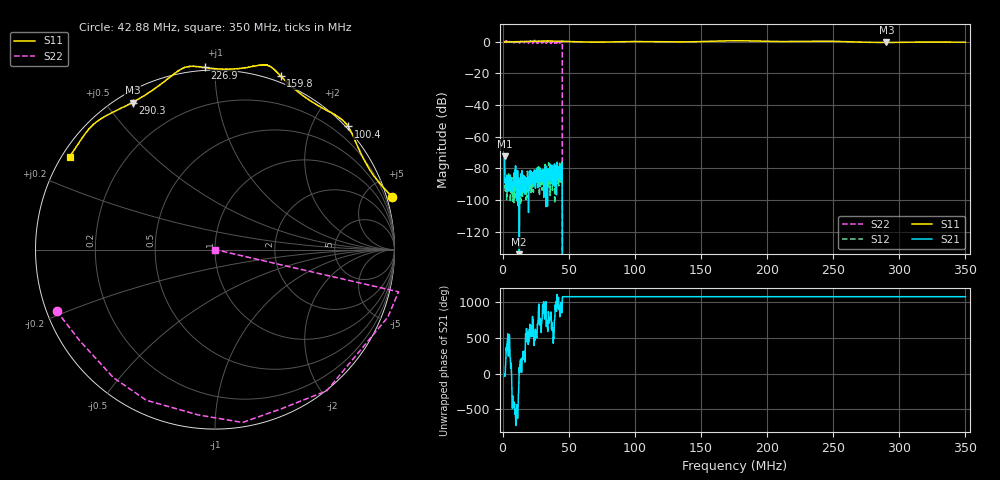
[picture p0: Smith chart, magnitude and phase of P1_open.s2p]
# Hz S RI R 50
! RAW DATA - UNCALIBRATED
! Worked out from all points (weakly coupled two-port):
!   1601 points, 1.5 MHz to 350 MHz, reference 50 ohm
!   highest |S21| = -72.43 dB at 1.5 MHz (marker M1); lowest = -185.0 dB at 12.61 MHz (marker M2)
!   lowest |S11| = -0.5 dB at 290.3 MHz (marker M3), VSWR 32.08, Z = 2.09 + j29.3 ohm
!   |S11| at or under -10 dB: nowhere
!   |S22| runs from - to 0.7 dB; largest |S21 - S12| = 0.00023
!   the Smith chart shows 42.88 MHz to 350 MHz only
!   S11 on the Smith chart (normalised r, x): 42.88 MHz: -0.73, +6.87; 100.4 MHz: -0.04, +2.55; 159.8 MHz: -0.05, +1.45; 226.9 MHz: -0.02, +0.95; 290.3 MHz: 0.04, +0.59; 350 MHz: 0.02, +0.29
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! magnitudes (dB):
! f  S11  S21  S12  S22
! 1.5 MHz  -0.2  -72.4  -80.4  0.5
! 3.46 MHz  -0.2  -90.8  -92.3  -0.3
! 12.61 MHz  0.0  -185.0  -90.3  -0.4
! 17.84 MHz  0.0  -94.2  -93.7  -0.1
! 25.68 MHz  0.3  -80.8  -82.5  -0.8
! 31.34 MHz  0.4  -80.9  -80.6  0.1
! 35.91 MHz  0.4  -77.5  -97.2  -0.3
! 40.92 MHz  0.3  -86.1  -83.9  -0.7
! 42.88 MHz  0.3  -86.8  -82.2  -0.5
! 43.32 MHz  0.3  -80.6  -81.7  -0.8
! 47.02 MHz  0.2  -  -  -
! 59.66 MHz  -0.2  -  -  -
! 100.4 MHz  0.1  -  -  -
! 117.8 MHz  0.0  -  -  -
! 138.9 MHz  -0.1  -  -  -
! 159.8 MHz  0.3  -  -  -
! 175.8 MHz  0.6  -  -  -
! 226.9 MHz  0.1  -  -  -
! 233.9 MHz  0.2  -  -  -
! 290.3 MHz  -0.5  -  -  -
! 292.1 MHz  -0.5  -  -  -
! 350 MHz  -0.3  -  -  -
